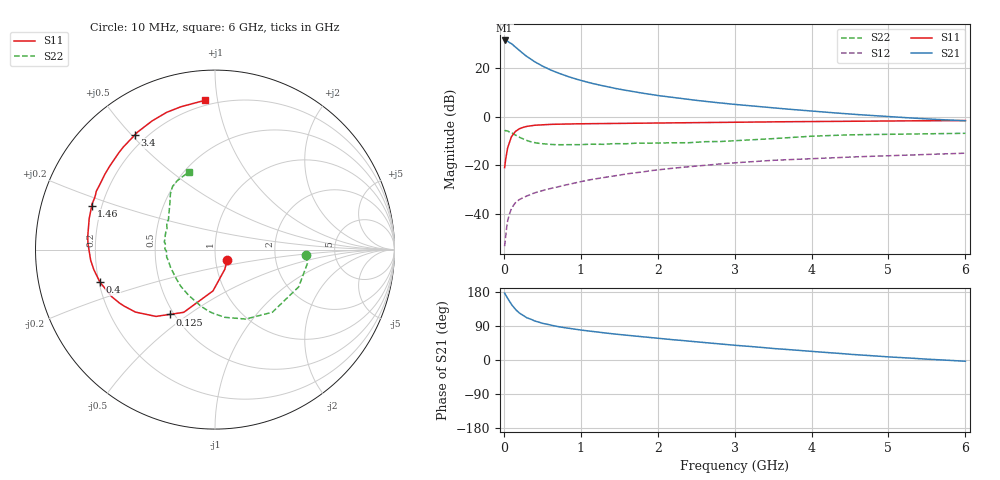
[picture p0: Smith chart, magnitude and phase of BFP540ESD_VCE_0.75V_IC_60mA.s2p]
! Infineon Technologies  Discrete & RF Semiconductors
! BFP540ESD
! VCE = 0.75 V,  IC =  60 mA
! Common Emitter S-Parameters:  Nov 2015
# GHz  S  MA  R  50
!  f  S11  S21  S12  S22
! GHz  MAG  ANG  MAG  ANG  MAG  ANG  MAG  ANG
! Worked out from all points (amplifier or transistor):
!   210 points, 10 MHz to 6 GHz, reference 50 ohm
!   highest |S21| = 31.3 dB at 10 MHz (marker M1)
!   |S21| within 3 dB of that: start of sweep to 161.6 MHz
!   unconditionally stable (mu >= 1): start of sweep to 80.46 MHz; 649.2 MHz to end of sweep
!   at 185 MHz: K = 0.71, MSG = 31.0 dB, |S12| = -34.4 dB
!   at 1.52 GHz: K = 1.21, MAG = 14.8 dB, |S12| = -23.8 dB
!   at 6 GHz: K = 1.27, MAG = 3.5 dB, |S12| = -15.0 dB
!   S11 on the Smith chart (normalised r, x): 10 MHz: 1.14, -0.13; 125 MHz: 0.48, -0.43; 400 MHz: 0.20, -0.13; 1.46 GHz: 0.16, +0.17; 3.4 GHz: 0.16, +0.51; 6 GHz: 0.17, +0.92
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0.01  0.09 -40.5  36.66 176.6  0.0022 77.4  0.507 -3.6
0.05  0.2305 -92.8  35.29 162.2  0.0073 72.0  0.5104 -24.0
0.1  0.3905 -116.5  31.47 146.0  0.0131 62.6  0.4733 -47.5
0.125  0.4397 -124.8  29.03 140.3  0.0151 59.8  0.4424 -56.3
0.15  0.4963 -131.4  26.92 133.6  0.0171 57.7  0.4233 -66.1
0.2  0.5639 -141.9  23 124.2  0.0198 52.0  0.3812 -81.8
0.24  0.596 -148.1  20.36 118.7  0.0214 51.3  0.3555 -91.5
0.26  0.6101 -150.8  19.2 116.1  0.0222 51.0  0.3448 -96.0
0.3  0.6329 -155.6  17.15 111.4  0.0237 50.4  0.3246 -104.1
0.4  0.6665 -164.3  13.42 103.1  0.0273 49.6  0.2934 -120.4
0.5  0.6843 -170.6  10.96 96.9  0.0304 50.8  0.2794 -133.3
0.6  0.6952 -175.1  9.203 92.4  0.0334 51.4  0.2705 -142.7
0.7  0.702 -179.5  7.942 88.2  0.0361 52.4  0.2656 -150.4
0.8  0.709 177.1  6.935 84.9  0.0395 53.8  0.2671 -156.9
1.02  0.7156 170.6  5.444 78.6  0.0471 53.7  0.2677 -167.7
1.46  0.729 160.5  3.776 68.2  0.062 53.1  0.279 177.5
2.02  0.7381 149.3  2.696 56.8  0.0812 49.6  0.2879 164.5
3.1  0.7687 130.1  1.73 37.4  0.1157 39.5  0.3265 141.8
3.4  0.7794 125.0  1.565 32.3  0.1243 36.2  0.347 136.7
4.1  0.7998 114.7  1.266 21.2  0.1398 28.8  0.4024 127.7
5.1  0.8188 102.4  0.982 7.1  0.1597 19.3  0.4382 118.0
6  0.8332 93.9  0.823 -3.3  0.1781 12.1  0.4559 108.5
